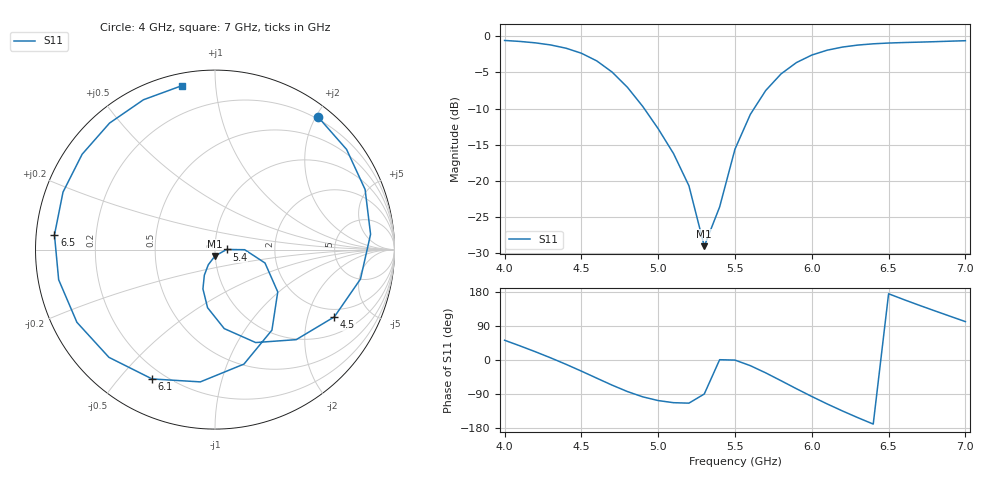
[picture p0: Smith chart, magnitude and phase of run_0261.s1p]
! Touchstone file exported from HFSS 2024.2.0
!  File:  C:/Users/wsak9/Desktop/Sim Fast/Widenad Patch/WP_AI_V1_sweep.aedt
!  Generated:  01:59:14 AM Oct 14, 2026
!  Design:  A1_model
!  Project:  WP_AI_V1_sweep
!  Setup:  Setup1
!  Solution:  Sweep
! Variables:
!  Air_gap = 3.62mm
!  Curve_Amp1 = 0.52
!  Curve_len1 = 1
!  Curve_pos = 11.3mm
!  Extra = 1.53mm
!  H_sub = 0.79mm
!  L_Patch = 18.6mm
!  L_Patch1 = 17.05mm
!  Sx = 2mm
!  Sy = 3.78mm
!  WS = 1.39mm
!  W_Patch = 19.2mm
!  W_Patch1 = 15.52mm
!Data is not renormalized
# GHz S MA
! Terminal data exported
! Port[1] = 1
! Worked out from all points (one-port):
!   31 points, 4 GHz to 7 GHz, reference per port
!   lowest |S11| = -29.1 dB at 5.3 GHz (marker M1), VSWR 1.07
!   |S11| at or under -10 dB: 4.909 GHz to 5.624 GHz (715.4 MHz wide, 13.6 % of centre)
!   S11 on the Smith chart (normalised r, x): 4 GHz: 0.17, +2.03; 4.5 GHz: 1.65, -2.97; 5.4 GHz: 1.14, +0.00; 6.1 GHz: 0.15, -0.62; 6.5 GHz: 0.05, +0.05; 7 GHz: 0.06, +0.82
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4  0.9358 52.1
4.2  0.9009 21.8
4.3  0.871 5.6
4.4  0.827 -11.4
4.5  0.7633 -29.4
4.6  0.6756 -47.9
4.7  0.5653 -66.4
4.8  0.4431 -83.3
4.9  0.3263 -97.3
5  0.2291 -107.1
5.2  0.09237 -113.9
5.3  0.03527 -89.7
5.4  0.06592 0.8
5.5  0.1657 -0.2
5.6  0.2884 -15.0
5.7  0.4216 -34.0
5.8  0.5494 -54.7
5.9  0.6579 -75.8
6  0.7415 -96.3
6.1  0.8014 -115.9
6.2  0.8423 -134.6
6.3  0.8695 -152.2
6.4  0.8871 -169.1
6.5  0.8982 174.8
6.6  0.9054 159.3
6.7  0.9112 144.3
6.9  0.9252 115.5
7  0.932 101.3
